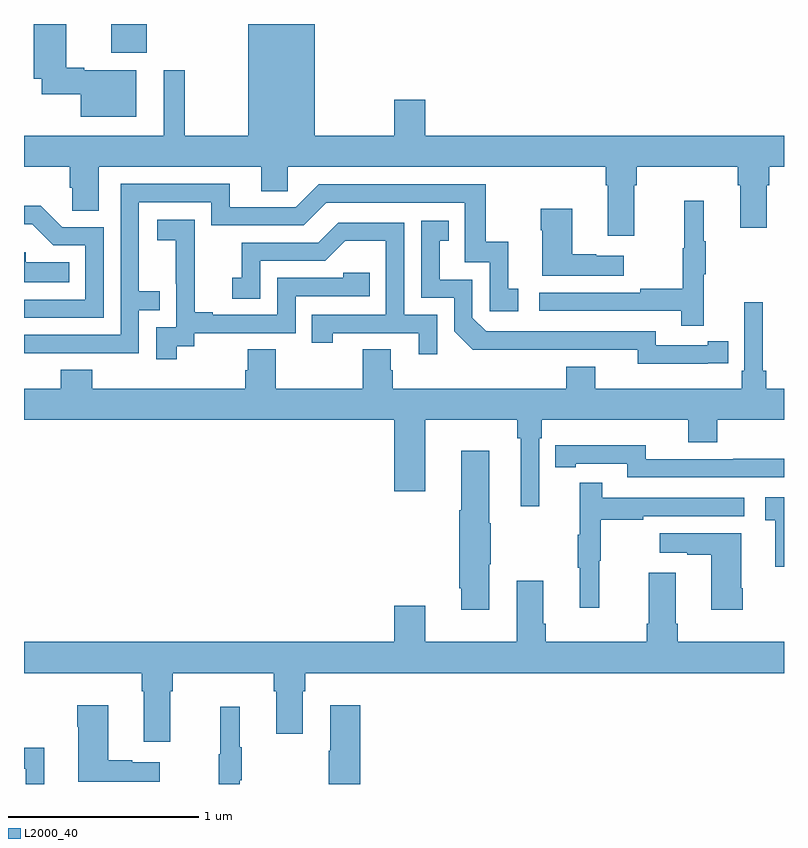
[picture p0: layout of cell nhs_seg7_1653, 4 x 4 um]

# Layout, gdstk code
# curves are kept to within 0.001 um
import gdstk
lib = gdstk.Library(unit=1e-6, precision=1e-09)
def R(c, l, rs):  # rectangles x0, y0, x1, y1
    for r in rs: c.add(gdstk.rectangle(r[:2], r[2:], *l))
def P(c, l, *ps):  # polygons
    for p in ps: c.add(gdstk.Polygon(p, *l))
L2000_40 = (2000, 40)

nhs_seg7_1653 = lib.new_cell('nhs_seg7_1653')
R(nhs_seg7_1653, L2000_40, [(223.459,1035.848,223.645,1036)])
P(nhs_seg7_1653, L2000_40, [(226.213,1035.152),(226.226,1035.152),(226.226,1035.248),(226.757,1035.248),(226.757,1035.152),(226.769,1035.152),(226.769,1034.928),(226.909,1034.928),(226.909,1035.152),(226.922,1035.152),(226.922,1035.248),(227,1035.248),(227,1035.412),(225.112,1035.412),(225.112,1035.601),(224.948,1035.601),(224.948,1035.412),(224.53,1035.412),(224.53,1036),(224.18,1036),(224.18,1035.412),(223.846,1035.412),(223.846,1035.757),(223.736,1035.757),(223.736,1035.412),(223,1035.412),(223,1035.248),(223.241,1035.248),(223.241,1035.139),(223.254,1035.139),(223.254,1035.016),(223.393,1035.016),(223.393,1035.248),(224.249,1035.248),(224.249,1035.121),(224.388,1035.121),(224.388,1035.248),(226.061,1035.248),(226.061,1035.152),(226.073,1035.152),(226.073,1034.886),(226.213,1034.886)],
  [(223.591,1035.757),(223.318,1035.757),(223.318,1035.77),(223.222,1035.77),(223.222,1036),(223.052,1036),(223.052,1035.713),(223.094,1035.713),(223.094,1035.629),(223.298,1035.629),(223.298,1035.512),(223.591,1035.512)],
  [(223.109,1034.268),(223.605,1034.268),(223.605,1034.493),(223.715,1034.493),(223.715,1034.594),(223.605,1034.594),(223.605,1035.063),(223.986,1035.063),(223.986,1034.94),(224.472,1034.94),(224.592,1035.06),(225.321,1035.06),(225.321,1034.745),(225.45,1034.745),(225.45,1034.487),(225.601,1034.487),(225.601,1034.607),(225.548,1034.607),(225.548,1034.853),(225.43,1034.853),(225.43,1035.156),(224.55,1035.156),(224.43,1035.036),(224.083,1035.036),(224.083,1035.159),(223.509,1035.159),(223.509,1034.364),(223,1034.364),(223,1034.267)],
  [(226.577,1034.683),(226.588,1034.683),(226.588,1034.857),(226.577,1034.857),(226.577,1035.07),(226.474,1035.07),(226.474,1034.82),(226.467,1034.82),(226.467,1034.606),(226.243,1034.606),(226.243,1034.586),(225.711,1034.586),(225.711,1034.49),(226.459,1034.49),(226.459,1034.412),(226.577,1034.412)],
  [(223.419,1034.931),(223.2,1034.931),(223.087,1035.044),(223,1035.044),(223,1034.946),(223.043,1034.946),(223.154,1034.835),(223.323,1034.835),(223.323,1034.55),(223,1034.55),(223,1034.454),(223.419,1034.454)],
  [(226.156,1034.779),(226.013,1034.779),(226.013,1034.789),(225.886,1034.789),(225.886,1035.028),(225.721,1035.028),(225.721,1034.915),(225.728,1034.915),(225.728,1034.675),(226.156,1034.675)],
  [(223.804,1034.305),(223.896,1034.305),(223.896,1034.373),(224.43,1034.373),(224.43,1034.568),(224.819,1034.568),(224.819,1034.691),(224.679,1034.691),(224.679,1034.664),(224.334,1034.664),(224.334,1034.469),(223.993,1034.469),(223.993,1034.482),(223.898,1034.482),(223.898,1034.765),(223.899,1034.765),(223.899,1034.971),(223.701,1034.971),(223.701,1034.861),(223.799,1034.861),(223.799,1034.632),(223.8,1034.632),(223.8,1034.403),(223.695,1034.403),(223.695,1034.235),(223.804,1034.235)],
  [(226.598,1034.214),(226.706,1034.214),(226.706,1034.33),(226.598,1034.33),(226.598,1034.31),(226.326,1034.31),(226.326,1034.382),(225.432,1034.382),(225.36,1034.454),(225.36,1034.655),(225.187,1034.655),(225.187,1034.859),(225.236,1034.859),(225.236,1034.965),(225.09,1034.965),(225.09,1034.559),(225.264,1034.559),(225.264,1034.382),(225.362,1034.285),(226.23,1034.286),(226.23,1034.213)],
  [(225.174,1034.469),(225,1034.469),(225,1034.955),(224.654,1034.955),(224.549,1034.85),(224.146,1034.85),(224.146,1034.665),(224.097,1034.665),(224.097,1034.555),(224.244,1034.555),(224.244,1034.754),(224.586,1034.754),(224.69,1034.858),(224.904,1034.858),(224.904,1034.469),(224.515,1034.469),(224.515,1034.322),(224.626,1034.322),(224.626,1034.373),(225.077,1034.373),(225.077,1034.262),(225.174,1034.262)],
  [(223.238,1034.746),(223.008,1034.746),(223.008,1034.799),(223,1034.799),(223,1034.642),(223.238,1034.642)],
  [(227,1034.08),(226.907,1034.08),(226.907,1034.176),(226.888,1034.176),(226.888,1034.536),(226.791,1034.536),(226.791,1034.176),(226.778,1034.176),(226.778,1034.08),(226.006,1034.08),(226.006,1034.197),(225.854,1034.197),(225.854,1034.08),(224.942,1034.08),(224.942,1034.178),(224.929,1034.178),(224.929,1034.288),(224.782,1034.288),(224.782,1034.08),(224.325,1034.08),(224.325,1034.288),(224.177,1034.288),(224.177,1034.178),(224.165,1034.178),(224.165,1034.08),(223.358,1034.08),(223.358,1034.179),(223.193,1034.179),(223.193,1034.08),(223,1034.08),(223,1033.916),(224.948,1033.916),(224.948,1033.542),(225.112,1033.542),(225.112,1033.916),(225.595,1033.916),(225.595,1033.82),(225.614,1033.82),(225.614,1033.461),(225.711,1033.461),(225.711,1033.82),(225.725,1033.82),(225.725,1033.916),(226.496,1033.916),(226.496,1033.799),(226.649,1033.799),(226.649,1033.916),(227,1033.916)],
  [(227,1033.712),(226.732,1033.712),(226.732,1033.71),(226.272,1033.71),(226.272,1033.783),(225.904,1033.783),(225.904,1033.782),(225.796,1033.782),(225.796,1033.666),(225.904,1033.666),(225.904,1033.686),(226.176,1033.686),(226.176,1033.614),(227,1033.614)],
  [(225.448,1033.156),(225.456,1033.156),(225.456,1033.373),(225.448,1033.373),(225.448,1033.753),(225.302,1033.753),(225.302,1033.44),(225.29,1033.44),(225.29,1033.03),(225.302,1033.03),(225.302,1032.918),(225.448,1032.918)],
  [(226.028,1033.176),(226.036,1033.176),(226.036,1033.39),(226.259,1033.39),(226.259,1033.41),(226.792,1033.41),(226.792,1033.506),(226.043,1033.506),(226.043,1033.585),(225.926,1033.585),(225.926,1033.313),(225.915,1033.313),(225.915,1033.139),(225.926,1033.139),(225.926,1032.927),(226.028,1032.927)],
  [(227,1033.51),(226.902,1033.51),(226.902,1033.389),(226.955,1033.389),(226.955,1033.143),(227,1033.143)],
  [(226.782,1033.03),(226.774,1033.03),(226.774,1033.321),(226.347,1033.321),(226.347,1033.217),(226.49,1033.217),(226.49,1033.207),(226.616,1033.207),(226.616,1032.918),(226.782,1032.918)],
  [(223.771,1032.488),(223.784,1032.488),(223.784,1032.584),(224.315,1032.584),(224.315,1032.488),(224.327,1032.488),(224.327,1032.264),(224.467,1032.264),(224.467,1032.488),(224.48,1032.488),(224.48,1032.584),(227,1032.584),(227,1032.748),(226.442,1032.748),(226.442,1032.844),(226.429,1032.844),(226.429,1033.111),(226.289,1033.111),(226.289,1032.844),(226.277,1032.844),(226.277,1032.748),(225.746,1032.748),(225.746,1032.844),(225.733,1032.844),(225.733,1033.069),(225.593,1033.069),(225.593,1032.748),(225.112,1032.748),(225.112,1032.937),(224.948,1032.937),(224.948,1032.748),(223,1032.748),(223,1032.584),(223.619,1032.584),(223.619,1032.488),(223.631,1032.488),(223.631,1032.222),(223.771,1032.222)],
  [(223.714,1032.115),(223.571,1032.115),(223.571,1032.125),(223.444,1032.125),(223.444,1032.415),(223.279,1032.415),(223.279,1032.302),(223.286,1032.302),(223.286,1032.011),(223.714,1032.011)],
  [(224.771,1032.415),(224.612,1032.415),(224.612,1032.176),(224.605,1032.176),(224.605,1032),(224.771,1032)],
  [(224.135,1032.019),(224.146,1032.019),(224.146,1032.193),(224.135,1032.193),(224.135,1032.406),(224.032,1032.406),(224.032,1032.156),(224.025,1032.156),(224.025,1032),(224.135,1032)],
  [(223.106,1032.19),(223,1032.19),(223,1032.081),(223.008,1032.081),(223.008,1032),(223.106,1032)])

lib.write_gds('nhs_seg7_1653.gds')
